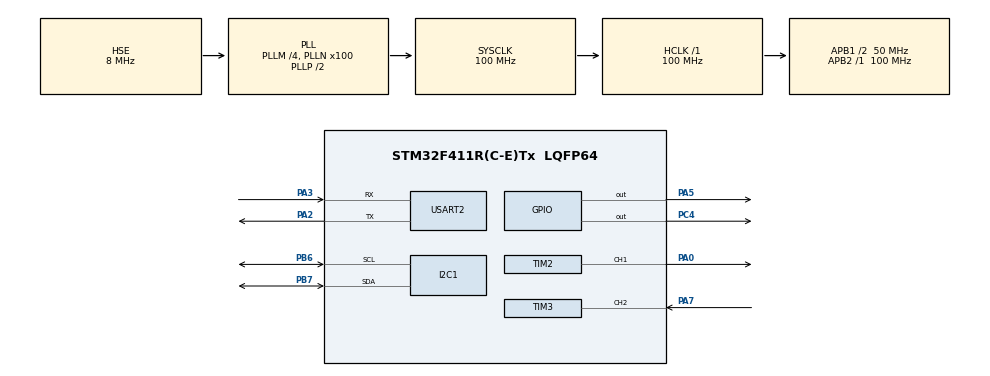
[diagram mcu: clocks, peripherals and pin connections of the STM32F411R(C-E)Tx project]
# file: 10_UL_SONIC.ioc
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Mcu.Family=STM32F4
Mcu.Name=STM32F411R(C-E)Tx
Mcu.Package=LQFP64
NVIC.PriorityGroup=NVIC_PRIORITYGROUP_4
NVIC.TIM3_IRQn=true\:0\:0\:false\:false\:true\:true\:true\:true
NVIC.USART2_IRQn=true\:0\:0\:false\:false\:true\:true\:true\:true
PA0-WKUP.Signal=S_TIM2_CH1_ETR
PA13.Mode=Serial_Wire
PA13.Signal=SYS_JTMS-SWDIO
PA14.Mode=Serial_Wire
PA14.Signal=SYS_JTCK-SWCLK
PA2.Mode=Asynchronous
PA2.Signal=USART2_TX
PA3.Mode=Asynchronous
PA3.Signal=USART2_RX
PA5.Signal=GPIO_Output
PA7.Signal=S_TIM3_CH2
PB6.Mode=I2C
PB6.Signal=I2C1_SCL
PB7.Mode=I2C
PB7.Signal=I2C1_SDA
PC4.Signal=GPIO_Output
PH0\ -\ OSC_IN.Mode=HSE-External-Clock-Source
PH0\ -\ OSC_IN.Signal=RCC_OSC_IN
PH1\ -\ OSC_OUT.Mode=HSE-External-Clock-Source
PH1\ -\ OSC_OUT.Signal=RCC_OSC_OUT
ProjectManager.HeapSize=0x200
ProjectManager.StackSize=0x400
ProjectManager.TargetToolchain=STM32CubeIDE
RCC.48MHZClocksFreq_Value=50000000
RCC.AHBFreq_Value=100000000
RCC.APB1CLKDivider=RCC_HCLK_DIV2
RCC.APB1Freq_Value=50000000
RCC.APB1TimFreq_Value=100000000
RCC.APB2Freq_Value=100000000
RCC.APB2TimFreq_Value=100000000
RCC.CortexFreq_Value=100000000
RCC.HCLKFreq_Value=100000000
RCC.HSE_VALUE=8000000
RCC.HSI_VALUE=16000000
RCC.LSE_VALUE=32768
RCC.PLLM=4
RCC.PLLN=100
RCC.PLLSourceVirtual=RCC_PLLSOURCE_HSE
RCC.SYSCLKFreq_VALUE=100000000
RCC.SYSCLKSource=RCC_SYSCLKSOURCE_PLLCLK
RCC.VCOOutputFreq_Value=200000000
SH.S_TIM2_CH1_ETR.0=TIM2_CH1,PWM Generation1 CH1
SH.S_TIM3_CH2.0=TIM3_CH2,Input_Capture2_from_TI2
TIM10.Prescaler=100-1
TIM11.Prescaler=100-1
TIM2.Channel-PWM\ Generation1\ CH1=TIM_CHANNEL_1
TIM2.Period=49
TIM2.Prescaler=83
TIM2.Pulse-PWM\ Generation1\ CH1=25
TIM3.Channel-Input_Capture2_from_TI2=TIM_CHANNEL_2
TIM3.Prescaler=100-1
USART2.VirtualMode=VM_ASYNC
VP_TIM10_VS_ClockSourceINT.Mode=Enable_Timer
VP_TIM11_VS_ClockSourceINT.Mode=Enable_Timer
VP_TIM3_VS_ClockSourceINT.Mode=Internal
board=custom

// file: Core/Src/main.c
/* USER CODE BEGIN Header */
/**
  ******************************************************************************
  * @file           : main.c
  * @brief          : Main program body
  ******************************************************************************
  * @attention
  *
  * Copyright (c) 2026 STMicroelectronics.
  * All rights reserved.
  *
  * This software is licensed under terms that can be found in the LICENSE file
  * in the root directory of this software component.
  * If no LICENSE file comes with this software, it is provided AS-IS.
  *
  ******************************************************************************
  */
/* USER CODE END Header */
#include "main.h"
#include "i2c.h"
#include "tim.h"
#include "usart.h"
#include "gpio.h"

/* USER CODE BEGIN Includes */

#include "stdio.h"
#include "delay.h"
#include "i2c_lcd.h"
#include "dht11.h"
#include "FAN_ACT.h"
#include "fan.h"

/* USER CODE END Includes */

/* USER CODE BEGIN PD */

#define TRIG_PORT GPIOA
#define TRIG_PIN  GPIO_PIN_5

/* USER CODE END PD */

/* USER CODE BEGIN PM */

#ifdef __GNUC__
/* With GCC small printf (option LD Linker->Libraries->Small printf
 * set to 'Yes') calls __io_putchar() */
#define PUTCHAR_PROTOTYPE int  __io_putchar(int ch)
#else
#define PUTCHAR_PROTOTYPE int  fputc(int ch, FILE *f)
#endif /* __GNUC__*/

/** @brief Retargets the C library printf function to the USART.
 *  @param None
 *  @retval None
 */
PUTCHAR_PROTOTYPE
{
  /* Place your implementation of fputc here */
  /* e.g. write a character to the USART2 and Loop
     until the end of transmission */
  if(ch == '\n')
  {
    HAL_UART_Transmit(&huart2, (uint8_t*) "\r", 1, 0xFFFF);
  }
    HAL_UART_Transmit(&huart2, (uint8_t*) &ch, 1, 0xFFFF);

    return ch;
}

/* USER CODE END PM */

/* USER CODE BEGIN PV */

uint16_t IC_Value1 = 0;       // Echo Pin Rising Check
uint16_t IC_Value2 = 0;       // Echo Pin Falling Check

uint16_t echoTime = 0;        // Echo Pin High Pulse Time
uint16_t captureFlag = 0;
uint8_t  distance = 0;

DHT11 dht;
char lcd_buf[20];

/* USER CODE END PV */

void SystemClock_Config(void);
/* USER CODE BEGIN PFP */

void HCSR04_TRG(void)
{
  HAL_GPIO_WritePin(TRIG_PORT, TRIG_PIN, GPIO_PIN_RESET);
  delay_us(1);
  HAL_GPIO_WritePin(TRIG_PORT, TRIG_PIN, GPIO_PIN_SET);
  delay_us(10);
  HAL_GPIO_WritePin(TRIG_PORT, TRIG_PIN, GPIO_PIN_RESET);

  __HAL_TIM_ENABLE_IT(&htim3, TIM_IT_CC2);
}

void HAL_TIM_IC_CaptureCallback(TIM_HandleTypeDef *htim)
{
  if(htim->Channel == HAL_TIM_ACTIVE_CHANNEL_2)
  {
    if(captureFlag == 0)
    {
      IC_Value1 = HAL_TIM_ReadCapturedValue(htim, TIM_CHANNEL_2);
      captureFlag = 1;
      __HAL_TIM_SET_CAPTUREPOLARITY(htim, TIM_CHANNEL_2, TIM_INPUTCHANNELPOLARITY_FALLING);
    }
    else if(captureFlag == 1)
    {
      IC_Value2 = HAL_TIM_ReadCapturedValue(htim, TIM_CHANNEL_2);
      __HAL_TIM_SET_COUNTER(htim, 0);

      if(IC_Value2 > IC_Value1)
      {
        echoTime = IC_Value2 - IC_Value1;
      }
      else if(IC_Value1 > IC_Value2)
      {
        echoTime = (0xffff - IC_Value1) + IC_Value2;
      }

      distance = echoTime/58;

      captureFlag = 0;
      __HAL_TIM_SET_CAPTUREPOLARITY(htim, TIM_CHANNEL_2,TIM_INPUTCHANNELPOLARITY_RISING);
      __HAL_TIM_DISABLE_IT(htim, TIM_IT_CC2);
    }
  }
}

int _write(int file, char* p, int len)
{
    // p 앞에 (uint8_t *)를 붙여서 타입을 강제로 맞춰줍니다.
    HAL_UART_Transmit(&huart2, (uint8_t *)p, len, 10);
    return len;
}

/* USER CODE END PFP */

/* USER CODE BEGIN 0 */

DHT11 dht;

/* USER CODE END 0 */

int main(void)
{

  /* MCU Configuration--------------------------------------------------------*/

  /* Reset of all peripherals, Initializes the Flash interface and the Systick. */
  HAL_Init();

  /* Configure the system clock */
  SystemClock_Config();

  /* Initialize all configured peripherals */
  MX_GPIO_Init();
  MX_USART2_UART_Init();
  MX_TIM3_Init();
  MX_I2C1_Init();
  MX_TIM10_Init();
  MX_TIM11_Init();
  MX_TIM2_Init();
  /* USER CODE BEGIN 2 */

  HAL_TIM_Base_Start(&htim11);                  // for delay_us function
  HAL_TIM_IC_Start_IT(&htim3, TIM_CHANNEL_2);   // for Ultrasonic Timer
  i2c_lcd_init();
  HAL_TIM_PWM_Start(&htim2, TIM_CHANNEL_1);

  dht11Init(&dht, GPIOC, GPIO_PIN_4);

  /* USER CODE END 2 */

  /* Infinite loop */
  /* USER CODE BEGIN WHILE */

  while(1)
  {
	  FAN_ACT(&dht);
	  Fan();
    /* USER CODE END WHILE */

  }
}

void SystemClock_Config(void)
{
  RCC_OscInitTypeDef RCC_OscInitStruct = {0};
  RCC_ClkInitTypeDef RCC_ClkInitStruct = {0};

  /** Configure the main internal regulator output voltage
  */
  __HAL_RCC_PWR_CLK_ENABLE();
  __HAL_PWR_VOLTAGESCALING_CONFIG(PWR_REGULATOR_VOLTAGE_SCALE1);

  /** Initializes the RCC Oscillators according to the specified parameters
  * in the RCC_OscInitTypeDef structure.
  */
  RCC_OscInitStruct.OscillatorType = RCC_OSCILLATORTYPE_HSE;
  RCC_OscInitStruct.HSEState = RCC_HSE_BYPASS;
  RCC_OscInitStruct.PLL.PLLState = RCC_PLL_ON;
  RCC_OscInitStruct.PLL.PLLSource = RCC_PLLSOURCE_HSE;
  RCC_OscInitStruct.PLL.PLLM = 4;
  RCC_OscInitStruct.PLL.PLLN = 100;
  RCC_OscInitStruct.PLL.PLLP = RCC_PLLP_DIV2;
  RCC_OscInitStruct.PLL.PLLQ = 4;
  if (HAL_RCC_OscConfig(&RCC_OscInitStruct) != HAL_OK)
  {
    Error_Handler();
  }

  /** Initializes the CPU, AHB and APB buses clocks
  */
  RCC_ClkInitStruct.ClockType = RCC_CLOCKTYPE_HCLK|RCC_CLOCKTYPE_SYSCLK
                              |RCC_CLOCKTYPE_PCLK1|RCC_CLOCKTYPE_PCLK2;
  RCC_ClkInitStruct.SYSCLKSource = RCC_SYSCLKSOURCE_PLLCLK;
  RCC_ClkInitStruct.AHBCLKDivider = RCC_SYSCLK_DIV1;
  RCC_ClkInitStruct.APB1CLKDivider = RCC_HCLK_DIV2;
  RCC_ClkInitStruct.APB2CLKDivider = RCC_HCLK_DIV1;

  if (HAL_RCC_ClockConfig(&RCC_ClkInitStruct, FLASH_LATENCY_3) != HAL_OK)
  {
    Error_Handler();
  }
}

void Error_Handler(void)
{
  __disable_irq();
  while (1)
  {
  }
}
